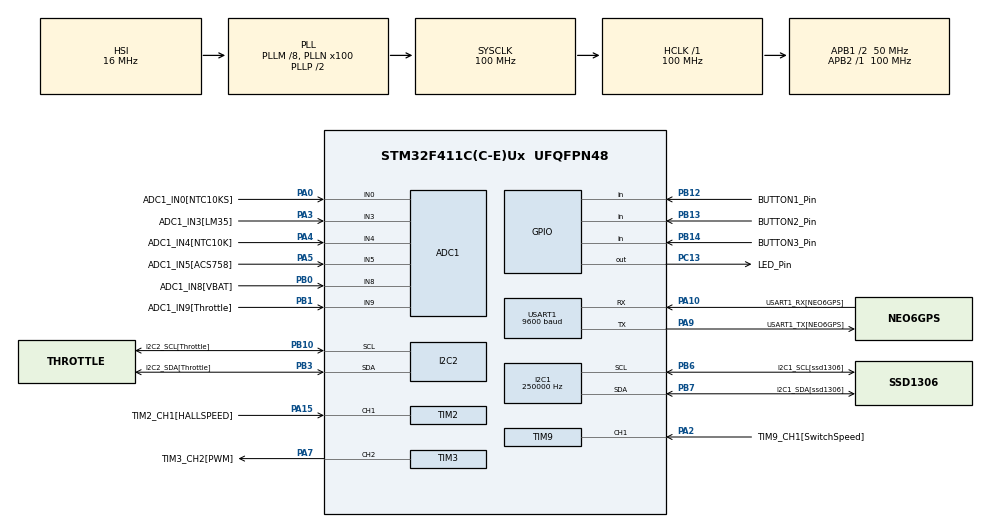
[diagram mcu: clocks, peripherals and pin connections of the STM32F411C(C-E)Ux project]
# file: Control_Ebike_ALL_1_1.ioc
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ADC1.Channel-0\#ChannelRegularConversion=ADC_CHANNEL_3
ADC1.Channel-1\#ChannelRegularConversion=ADC_CHANNEL_5
ADC1.Channel-2\#ChannelRegularConversion=ADC_CHANNEL_8
ADC1.Channel-3\#ChannelRegularConversion=ADC_CHANNEL_9
ADC1.Channel-4\#ChannelRegularConversion=ADC_CHANNEL_4
ADC1.Channel-5\#ChannelRegularConversion=ADC_CHANNEL_0
ADC1.ContinuousConvMode=ENABLE
ADC1.InjNumberOfConversion=0
ADC1.NbrOfConversion=6
ADC1.NbrOfConversionFlag=1
ADC1.Rank-0\#ChannelRegularConversion=1
ADC1.Rank-1\#ChannelRegularConversion=2
ADC1.Rank-2\#ChannelRegularConversion=3
ADC1.Rank-3\#ChannelRegularConversion=4
ADC1.Rank-4\#ChannelRegularConversion=5
ADC1.Rank-5\#ChannelRegularConversion=6
ADC1.SamplingTime-0\#ChannelRegularConversion=ADC_SAMPLETIME_84CYCLES
ADC1.SamplingTime-1\#ChannelRegularConversion=ADC_SAMPLETIME_84CYCLES
ADC1.SamplingTime-2\#ChannelRegularConversion=ADC_SAMPLETIME_84CYCLES
ADC1.SamplingTime-3\#ChannelRegularConversion=ADC_SAMPLETIME_84CYCLES
ADC1.SamplingTime-4\#ChannelRegularConversion=ADC_SAMPLETIME_84CYCLES
ADC1.SamplingTime-5\#ChannelRegularConversion=ADC_SAMPLETIME_3CYCLES
ADC1.ScanConvMode=ENABLE
ADC1.master=1
I2C1.ClockSpeed=250000
I2C1.I2C_Mode=I2C_Fast
Mcu.Family=STM32F4
Mcu.Name=STM32F411C(C-E)Ux
Mcu.Package=UFQFPN48
NVIC.PriorityGroup=NVIC_PRIORITYGROUP_4
NVIC.TIM1_BRK_TIM9_IRQn=true\:0\:0\:false\:true\:true\:1\:true\:true\:true
NVIC.TIM1_CC_IRQn=true\:0\:0\:false\:false\:true\:true\:true\:true
NVIC.TIM1_TRG_COM_TIM11_IRQn=true\:0\:0\:false\:false\:true\:true\:true\:true
NVIC.TIM1_UP_TIM10_IRQn=true\:0\:0\:false\:false\:true\:true\:true\:true
NVIC.TIM2_IRQn=true\:0\:0\:false\:true\:true\:2\:true\:true\:true
NVIC.TIM4_IRQn=true\:0\:0\:false\:false\:true\:true\:true\:true
NVIC.USART1_IRQn=true\:0\:0\:false\:false\:true\:true\:true\:true
PA0-WKUP.GPIO_Label=ADC1_IN0[NTC10KS]
PA0-WKUP.Signal=ADCx_IN0
PA10.GPIO_Label=USART1_RX[NEO6GPS]
PA10.Mode=Asynchronous
PA10.Signal=USART1_RX
PA13.Mode=Serial_Wire
PA13.Signal=SYS_JTMS-SWDIO
PA14.Mode=Serial_Wire
PA14.Signal=SYS_JTCK-SWCLK
PA15.GPIO_Label=TIM2_CH1[HALLSPEED]
PA15.GPIO_PuPd=GPIO_PULLDOWN
PA15.GPIO_Speed=GPIO_SPEED_FREQ_VERY_HIGH
PA15.Signal=S_TIM2_CH1_ETR
PA2.GPIO_Label=TIM9_CH1[SwitchSpeed]
PA2.Signal=S_TIM9_CH1
PA3.GPIO_Label=ADC1_IN3[LM35]
PA3.Signal=ADCx_IN3
PA4.GPIO_Label=ADC1_IN4[NTC10K]
PA4.Signal=ADCx_IN4
PA5.GPIO_Label=ADC1_IN5[ACS758]
PA5.Signal=ADCx_IN5
PA7.GPIO_Label=TIM3_CH2[PWM]
PA7.Signal=S_TIM3_CH2
PA9.GPIO_Label=USART1_TX[NEO6GPS]
PA9.Mode=Asynchronous
PA9.Signal=USART1_TX
PB0.GPIO_Label=ADC1_IN8[VBAT]
PB0.Signal=ADCx_IN8
PB1.GPIO_Label=ADC1_IN9[Throttle]
PB1.Signal=ADCx_IN9
PB10.GPIO_Label=I2C2_SCL[Throttle]
PB10.Mode=I2C
PB10.Signal=I2C2_SCL
PB12.GPIO_Label=BUTTON1_Pin
PB12.Signal=GPIO_Input
PB13.GPIO_Label=BUTTON2_Pin
PB13.Signal=GPIO_Input
PB14.GPIO_Label=BUTTON3_Pin
PB14.Signal=GPIO_Input
PB3.GPIO_Label=I2C2_SDA[Throttle]
PB3.Mode=I2C
PB3.Signal=I2C2_SDA
PB6.GPIO_Label=I2C1_SCL[ssd1306]
PB6.Mode=I2C
PB6.Signal=I2C1_SCL
PB7.GPIO_Label=I2C1_SDA[ssd1306]
PB7.Mode=I2C
PB7.Signal=I2C1_SDA
PC13-ANTI_TAMP.GPIO_Label=LED_Pin
PC13-ANTI_TAMP.Signal=GPIO_Output
PH0\ -\ OSC_IN.Mode=HSE-External-Oscillator
PH0\ -\ OSC_IN.Signal=RCC_OSC_IN
PH1\ -\ OSC_OUT.Mode=HSE-External-Oscillator
PH1\ -\ OSC_OUT.Signal=RCC_OSC_OUT
ProjectManager.HeapSize=0x200
ProjectManager.StackSize=0x400
ProjectManager.TargetToolchain=STM32CubeIDE
RCC.48MHZClocksFreq_Value=50000000
RCC.AHBFreq_Value=100000000
RCC.APB1CLKDivider=RCC_HCLK_DIV2
RCC.APB1Freq_Value=50000000
RCC.APB1TimFreq_Value=100000000
RCC.APB2Freq_Value=100000000
RCC.APB2TimFreq_Value=100000000
RCC.CortexFreq_Value=100000000
RCC.HCLKFreq_Value=100000000
RCC.HSE_VALUE=25000000
RCC.HSI_VALUE=16000000
RCC.LSE_VALUE=32768
RCC.PLLM=8
RCC.PLLN=100
RCC.SYSCLKFreq_VALUE=100000000
RCC.SYSCLKSource=RCC_SYSCLKSOURCE_PLLCLK
RCC.VCOOutputFreq_Value=200000000
SH.ADCx_IN0.0=ADC1_IN0,IN0
SH.ADCx_IN3.0=ADC1_IN3,IN3
SH.ADCx_IN4.0=ADC1_IN4,IN4
SH.ADCx_IN5.0=ADC1_IN5,IN5
SH.ADCx_IN8.0=ADC1_IN8,IN8
SH.ADCx_IN9.0=ADC1_IN9,IN9
SH.S_TIM2_CH1_ETR.0=TIM2_CH1,Input_Capture1_from_TI1
SH.S_TIM3_CH2.0=TIM3_CH2,PWM Generation2 CH2
SH.S_TIM9_CH1.0=TIM9_CH1,Input_Capture1_from_TI1
TIM1.Prescaler=100-1
TIM2.Channel-Input_Capture1_from_TI1=TIM_CHANNEL_1
TIM2.Channel-Input_Capture2_from_TI1_63=TIM_CHANNEL_2
TIM2.ICPolarity_CH2=TIM_INPUTCHANNELPOLARITY_FALLING
TIM2.Period=69355
TIM3.Channel-PWM\ Generation2\ CH2=TIM_CHANNEL_2
TIM3.Period=100-1
TIM3.Prescaler=10-1
TIM3.Pulse-PWM\ Generation2\ CH2=0
TIM4.Period=1000-1
TIM4.Prescaler=10000-1
TIM9.Channel-Input_Capture1_from_TI1=TIM_CHANNEL_1
TIM9.ICPolarity_CH1=TIM_INPUTCHANNELPOLARITY_FALLING
TIM9.Period=9999
TIM9.Prescaler=9999
USART1.BaudRate=9600
USART1.VirtualMode=VM_ASYNC
VP_IWDG_VS_IWDG.Mode=IWDG_Activate
VP_TIM1_VS_ClockSourceINT.Mode=Internal
VP_TIM2_VS_ClockSourceINT.Mode=Internal
VP_TIM2_VS_indirect_ch1.Mode=Input_Capture2_from_TI1_63
VP_TIM3_VS_ClockSourceINT.Mode=Internal
VP_TIM4_VS_ClockSourceINT.Mode=Internal
VP_TIM9_VS_ClockSourceINT.Mode=Internal
board=custom

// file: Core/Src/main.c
/* USER CODE BEGIN Header */
/**
  ******************************************************************************
  * @file           : main.c
  * @brief          : Main program body
  ******************************************************************************
  * @attention
  *
  * Copyright (c) 2024 STMicroelectronics.
  * All rights reserved.
  *
  * This software is licensed under terms that can be found in the LICENSE file
  * in the root directory of this software component.
  * If no LICENSE file comes with this software, it is provided AS-IS.
  *
  ******************************************************************************
  */
/* USER CODE END Header */
#include "main.h"
#include "adc.h"
#include "i2c.h"
#include "iwdg.h"
#include "tim.h"
#include "usart.h"
#include "gpio.h"

/* USER CODE BEGIN Includes */
#include "acs758.h"
#include "Battery.h"
#include "buttons.h"
//#include "ds18B20.h"
#include "ssd1306_conf.h"
#include "ssd1306_tests.h"
#include "ssd1306_fonts.h"
#include "ssd1306.h"
#include "gps_neo6.h"
#include "hall.h"
//#include "MCP4725.h"
//#include "onewire.h"

#include "ThrottleADC.h"
#include "page.h"
//#include "lm35.h"
#include "ntc10k.h"
#include "ntc10kS.h"
#include "SwitchSpeed.h"
//#include "pidspeed.h"
#include "pid.h"

#include "stdint.h"
#include "stdio.h"
#include <math.h>
#include <string.h>
/* USER CODE END Includes */

/* USER CODE BEGIN PV */

///// NTC10K ////
uint16_t ADC_Raw;
float Ntc_Tmp;
float Avg_Tmp;

uint8_t Sch_100ms = 255;

///// NTC10K S ////
uint16_t ADC_Raw_S;
float Ntc_Tmp_S;
float Avg_Tmp_S;

uint8_t Sch_100ms_S = 255;

///// LM35 /////
//float temp;
//uint32_t adcval;

//// POWER  /////
float power;

double batteryCurrentCapacityAh;
double batteryCurrentCapacityWh;

/// ACS758 /////
double current;
float voltage;
uint32_t value;

//// Throttle /////
//MCP4725 myDAC;
//double averageVoltage;
//double adc_val;

//// V_BAT /////
uint32_t bat_adc_val;
float batteryVoltage;

/// NEO6GPS  /////
NEO6_State GpsState;

/// BUTTON ////
BUTTON_T BUTTON1_Pin;
BUTTON_T BUTTON2_Pin;
BUTTON_T BUTTON3_Pin;

/// DS18B20/////
//float temperature;

/// SwitchSpeed //////
extern volatile uint32_t lastPulseCheckTime_Switch;
extern volatile float Switchspeed;
extern volatile float Switchrotational_speed;
extern volatile uint32_t lastImpulseTime_Switch;

////HALL_SPEED /////
extern volatile float speed;
extern volatile float rotational_speed;
extern volatile uint32_t pulseCounter;
extern volatile uint32_t lastImpulseTime;
extern volatile uint32_t lastPulseCheckTime;
extern volatile float totalDistance;

//// SSD1306 PAGE ////
uint8_t pageIndex = 0; // This variable will keep track of which page should be displayed.
uint8_t supportLevel = 2; // Start at level 1

//// NEO6GPS /////
NEO6_State GpsState;

///// PWM_PID /////
double scaledThrottlePower;
double powerPercentage;
double averageVoltagePercentage;
double throttlePower;

double scaledThrottleSpeed;
double speedPercentage;
double throttleSpeed;

uint8_t currentFunction = 0;
/* USER CODE END PV */

void SystemClock_Config(void);
static void MX_NVIC_Init(void);
/* USER CODE BEGIN PFP */
void renderPage1(char* buffer);
void renderPage2(char* buffer);
void renderPage3(char* buffer);
void renderPage4(char* buffer);
void renderPage5(char* buffer);
void renderPage6(char* buffer);
/* USER CODE END PFP */

int main(void)
{
  /* USER CODE BEGIN 1 */
//	PID_TypeDef PID;
  /* USER CODE END 1 */

  /* MCU Configuration--------------------------------------------------------*/

  /* Reset of all peripherals, Initializes the Flash interface and the Systick. */
  HAL_Init();

  /* USER CODE BEGIN Init */
//  PID_Init(&PID);
  /* USER CODE END Init */

  /* Configure the system clock */
  SystemClock_Config();

  /* Initialize all configured peripherals */
  MX_GPIO_Init();
  MX_ADC1_Init();
  MX_I2C1_Init();
  MX_I2C2_Init();
  MX_TIM1_Init();
  MX_USART1_UART_Init();
  MX_TIM2_Init();
  MX_TIM3_Init();
  MX_TIM4_Init();
  MX_TIM9_Init();
  MX_IWDG_Init();

  /* Initialize interrupts */
  MX_NVIC_Init();
  /* USER CODE BEGIN 2 */

///////////////////////////////// NTC10K
  HAL_TIM_Base_Start_IT(&htim4);

///////////////////////////////// NTC10KS
  HAL_TIM_Base_Start_IT(&htim4);

///////////////////////////////NEO6GPS
  NEO6_Init(&GpsState, &huart1);

////////////////////////////// ACS758 /////
  ACS7XX Serch;
  ACS7XX_ResetCounters(&Serch);
  ACS7XX_Calibrate(&Serch);
  ACS7XX_Init_Default(&Serch);

///////////////////////////// HALLSPEED /////
  HAL_TIM_IC_START();

///////////////////////////// SSD1306 /////
  ssd1306_Init();

/////////////////////////////// BUTTON ////
  Button_Init(&BUTTON1_Pin, BUTTON1_Pin_GPIO_Port, BUTTON1_Pin_Pin, 30, 3000, 700);
  Button_Init(&BUTTON2_Pin, BUTTON2_Pin_GPIO_Port, BUTTON2_Pin_Pin, 30, 3000, 700);
  Button_Init(&BUTTON3_Pin, BUTTON3_Pin_GPIO_Port, BUTTON3_Pin_Pin, 30, 3000, 700);

  PID_Init_Power(&Serch, &hadc1, &powerPercentage, &averageVoltagePercentage);

/////////////////////////////// DELAY ////
  uint32_t GPS_delay = 0;
  uint32_t mAhWh_delay = 0;
//  uint32_t PWM_delay = 0;
  uint32_t NTC10K_delay = 0;
  uint32_t NTC10KS_delay = 0;
  uint32_t POWER_delay = 0;
  uint32_t ACS758_delay = 0;
  uint32_t V_BAT_delay = 0;
  uint32_t SSD1306_delay = 0;
  uint32_t BUTTON_delay = 0;

//  uint32_t LM35_delay = 0;
//  uint32_t DS18B20_delay = 0;

  /* USER CODE END 2 */

  /* Infinite loop */
  /* USER CODE BEGIN WHILE */
  while (1)
  {

	  if(HAL_IWDG_Refresh(&hiwdg) != HAL_OK)
	  {
		  /* Refresh Error */
		  Error_Handler();
	  }

//////////////////////////////////////////////NEO6GPS ////////
	if((HAL_GetTick() - GPS_delay) > 100)
		{
	  		NEO6_Task(&GpsState);
	  		NEO6_IsFix(&GpsState);
	  		GPS_delay = HAL_GetTick();
		}
////////////////////////////////////////////// mAh / Wh ///////

	if((HAL_GetTick() - mAhWh_delay) > 1000)
	  		{
	  UpdateBatteryConsumption(&Serch, &hadc1, &batteryCurrentCapacityAh, &batteryCurrentCapacityWh);
	  mAhWh_delay = HAL_GetTick();
	}
///////////////////////////////////////////// PWM THROTTLE////////////
//	if((HAL_GetTick() - PWM_delay) > 500)
//	{
		Throttle_Control_Power(&Serch, &hadc1, &htim3, TIM_CHANNEL_2, &averageVoltagePercentage, &powerPercentage);
//		PWM_delay = HAL_GetTick();
//	}
//////////////////////////////////////////////NTC10K /////////
	if((HAL_GetTick() - NTC10K_delay) > 1000)
	{
	  if(Sch_100ms)
	    {
		  NTC10K_ADC_Read(&ADC_Raw);
		  NTC10K_Get_Avg_Temp(&Avg_Tmp);

	    }
	  NTC10K_delay = HAL_GetTick();
	}

	//////////////////////////////////////////////NTC10KS /////////
	if((HAL_GetTick() - NTC10KS_delay) > 1000)
	{
		if(Sch_100ms_S)
		  {
		 	NTC10K_ADC_Read_S(&ADC_Raw_S);
		 	NTC10K_Get_Avg_Temp_S(&Avg_Tmp_S);

		  }
		NTC10KS_delay = HAL_GetTick();
	}

/////////////////////////////////////////////HALLSPEED /////
// If the last pulse was more than TIMEOUT milliseconds ago
	if (HAL_GetTick() - lastImpulseTime >= TIMEOUT)
	{
		// reset speed, rotational_speed and pulseCounter
		pulseCounter = 0;
		speed = 0;
		rotational_speed = 0;
	}

//////////////////////////////////////////// POWER //////
	if((HAL_GetTick() - POWER_delay) > 500)
	{
		Power_Calculate(&Serch, &hadc1, &power);

		POWER_delay = HAL_GetTick();
	}

//////////////////////////////////////////// ACS758 /////
	if((HAL_GetTick() - ACS758_delay) > 500)
	{
	   ACS7XX_InstantCurrent(&Serch, &current, &voltage, &value);

	   ACS758_delay = HAL_GetTick();
	}

///////////////////////////////////////////// V_BAT ///////
	if((HAL_GetTick() - V_BAT_delay) > 1000)
	{
	   HAL_ADC_Start(&hadc1);
	   HAL_ADC_PollForConversion(&hadc1, HAL_MAX_DELAY);
	   Battery_Get_ADC_Value(&hadc1, &bat_adc_val);
	   Battery_Get_Voltage(&hadc1 , &batteryVoltage);
	   HAL_ADC_Stop(&hadc1);

	   V_BAT_delay = HAL_GetTick();
	}

//////////////////////////////////////////// SSD1306  ////

	if((HAL_GetTick() - SSD1306_delay) > 100)
	{
		char displayBuffer[50];
		ssd1306_Fill(Black);

		// Depending on the page to be displayed we render different information.
		switch (pageIndex)
		{
			case 0: // Page 1
		      renderPage2(displayBuffer);
		      break;

			case 1: // Page 2
		      renderPage2(displayBuffer);
		      break;

			case 2: // Page 3
		      renderPage3(displayBuffer);
		      break;

			case 3: // Page 4
		      renderPage4(displayBuffer);
		      break;

			case 4: // Page 5
		      renderPage5(displayBuffer);
		      break;

			case 5: // Page 6
		      renderPage5(displayBuffer);
		      break;

			default:
				// If an unrecognized page index is detected, reset to page 1.
				pageIndex = 0;
			}
		ssd1306_UpdateScreen();

		SSD1306_delay = HAL_GetTick();
	}

////////////////////////////////////////////// BUTTON ////
	if((HAL_GetTick() - BUTTON_delay) > 100)
	{

		/////// If button 3 is pressed, we move to the next page.
		if (Button_IsPressed(&BUTTON1_Pin))
		{
			// If we were in the last page, reset to page 1.
		    if (pageIndex >= 5)
		    {
		    	pageIndex = 0;
		    }
		    // Otherwise, simply go to the next page.
		    else
		    {
		    	pageIndex++;
		    }
		}

		/////// If button 2 is pressed, increment the support level.
		if (Button_IsPressed(&BUTTON2_Pin))
		{
			if (supportLevel <= 4)
		    {
		        supportLevel++;
		    }
		}

		/////// If button 3 is pressed, decrement the support level.
		if (Button_IsPressed(&BUTTON3_Pin))
		{
			if (supportLevel >= 1)
		    {
				supportLevel--;
		    }
		}
		   BUTTON_delay = HAL_GetTick();
	}

    /* USER CODE END WHILE */

  }
}

void SystemClock_Config(void)
{
  RCC_OscInitTypeDef RCC_OscInitStruct = {0};
  RCC_ClkInitTypeDef RCC_ClkInitStruct = {0};

  /** Configure the main internal regulator output voltage
  */
  __HAL_RCC_PWR_CLK_ENABLE();
  __HAL_PWR_VOLTAGESCALING_CONFIG(PWR_REGULATOR_VOLTAGE_SCALE1);

  /** Initializes the RCC Oscillators according to the specified parameters
  * in the RCC_OscInitTypeDef structure.
  */
  RCC_OscInitStruct.OscillatorType = RCC_OSCILLATORTYPE_HSI|RCC_OSCILLATORTYPE_LSI;
  RCC_OscInitStruct.HSIState = RCC_HSI_ON;
  RCC_OscInitStruct.HSICalibrationValue = RCC_HSICALIBRATION_DEFAULT;
  RCC_OscInitStruct.LSIState = RCC_LSI_ON;
  RCC_OscInitStruct.PLL.PLLState = RCC_PLL_ON;
  RCC_OscInitStruct.PLL.PLLSource = RCC_PLLSOURCE_HSI;
  RCC_OscInitStruct.PLL.PLLM = 8;
  RCC_OscInitStruct.PLL.PLLN = 100;
  RCC_OscInitStruct.PLL.PLLP = RCC_PLLP_DIV2;
  RCC_OscInitStruct.PLL.PLLQ = 4;
  if (HAL_RCC_OscConfig(&RCC_OscInitStruct) != HAL_OK)
  {
    Error_Handler();
  }

  /** Initializes the CPU, AHB and APB buses clocks
  */
  RCC_ClkInitStruct.ClockType = RCC_CLOCKTYPE_HCLK|RCC_CLOCKTYPE_SYSCLK
                              |RCC_CLOCKTYPE_PCLK1|RCC_CLOCKTYPE_PCLK2;
  RCC_ClkInitStruct.SYSCLKSource = RCC_SYSCLKSOURCE_PLLCLK;
  RCC_ClkInitStruct.AHBCLKDivider = RCC_SYSCLK_DIV1;
  RCC_ClkInitStruct.APB1CLKDivider = RCC_HCLK_DIV2;
  RCC_ClkInitStruct.APB2CLKDivider = RCC_HCLK_DIV1;

  if (HAL_RCC_ClockConfig(&RCC_ClkInitStruct, FLASH_LATENCY_3) != HAL_OK)
  {
    Error_Handler();
  }
}

/**
  * @brief NVIC Configuration.
  * @retval None
  */
static void MX_NVIC_Init(void)
{
  /* TIM1_BRK_TIM9_IRQn interrupt configuration */
  HAL_NVIC_SetPriority(TIM1_BRK_TIM9_IRQn, 0, 0);
  HAL_NVIC_EnableIRQ(TIM1_BRK_TIM9_IRQn);
  /* TIM2_IRQn interrupt configuration */
  HAL_NVIC_SetPriority(TIM2_IRQn, 0, 0);
  HAL_NVIC_EnableIRQ(TIM2_IRQn);
}

/* USER CODE BEGIN 4 */

void HAL_TIM_IC_CaptureCallback(TIM_HandleTypeDef *htim) // Standardowy callback dla przerwania
{
    if (htim->Instance == TIM2) // Jeśli przerwanie jest od timera TIM3
    {
        HAL_TIM_IC_CaptureCallback_TIM2(htim); // Wywołaj funkcję specyficzną dla TIM3
    }
    else if (htim->Instance == TIM9) // Jeśli przerwanie jest od timera TIM9
    {
        HAL_TIM_IC_CaptureCallback_TIM9(htim);  // Wywołaj funkcję specyficzną dla TIM9
    }
}

/////////////////////////////////////// SSD1306PAGE ///////
void renderPage1(char* buffer)
{

	ssd1306_TestDrawBitmap();

}
void renderPage2(char* buffer)
{
	char displayBuffer[50];

    // Display temperature NTC10K
    ssd1306_SetCursor(65, 2);
    sprintf(displayBuffer, "E:%.1f C", Avg_Tmp);
    ssd1306_WriteString(displayBuffer, Font_7x10, White);

    // Display temperature NTC10K
    ssd1306_SetCursor(65, 13);
    sprintf(displayBuffer, "C:%.1f C", Avg_Tmp_S);
    ssd1306_WriteString(displayBuffer, Font_7x10, White);

    // Display battery voltage
    ssd1306_SetCursor(10, 2);
    sprintf(displayBuffer, ": %.1f V", batteryVoltage);
    ssd1306_WriteString(displayBuffer, Font_6x8, White);

	// Display Speed
	ssd1306_SetCursor(15, 19);
	sprintf(displayBuffer, "%.0f", speed);
	ssd1306_WriteString(displayBuffer, Font_11x18, White);
	ssd1306_SetCursor(40, 25);
	sprintf(displayBuffer, "km/h");
	ssd1306_WriteString(displayBuffer, Font_7x10, White);
    // Display POWER
    ssd1306_SetCursor(15, 45);
    sprintf(displayBuffer, "%.0f", power);
    ssd1306_WriteString(displayBuffer, Font_11x18, White);
    ssd1306_SetCursor(52, 51);
    sprintf(displayBuffer, "W");
    ssd1306_WriteString(displayBuffer, Font_7x10, White);

    // Display Current
    ssd1306_SetCursor(80, 26);
    sprintf(displayBuffer, "%.1f A", current);
    ssd1306_WriteString(displayBuffer, Font_7x10, White);

    // Display distance
    ssd1306_SetCursor(79, 53);
    sprintf(displayBuffer, "%.1f km", totalDistance);
    ssd1306_WriteString(displayBuffer, Font_6x8, White);

    //Display support level
    ssd1306_SetCursor(1, 29);
    snprintf(displayBuffer, sizeof(displayBuffer), "%u", supportLevel);
    ssd1306_WriteString(displayBuffer, Font_11x18, White);

    // Calculate the height of the temperature bar
    int tempPercent = Avg_Tmp; // This assumes temperature is between 0-100. If not, make sure to scale it.
     // Check if temperature is in range.
     if(tempPercent < 0)
     {
       tempPercent = 0;
     }
     else if(tempPercent > 100)
     {
       tempPercent = 100;
     }
     // Calculate height for temperature.
     int tempHeight = (int) (52*tempPercent/100); // Assuming the height of OLED is 64 pixels. Adjust this value according to your OLED resolution.
     // Draw temperature bar.
     for(int y=63; y>=0; y--)
     {
       for(int x=124; x<128; x++)
       { // Assuming the width of OLED is 128 pixels.
         if(y >= (64-tempHeight))
         {
           ssd1306_DrawPixel(x, y, White); // Draw the bar as white.
         }
         else
         {
           ssd1306_DrawPixel(x, y, Black); // Other area remains black.
         }
       }
     }

 	// Calculate battery level percentage.
     float batPercent = ((batteryVoltage - 42) / (54.6 - 42)) * 100 ;    // Assuming batteryVoltage ranges from 42V to 54.6V.
 	// Check if battery level is in range.
 	if(batPercent < 0)
 	{
 		batPercent = 0;
 	}
 	else if(batPercent > 100)
 	{
 	    batPercent = 100;
 	}

     uint8_t batteryWidth = 15;
     uint8_t batteryHeight = 7;
     uint8_t topLeftX = 2; // top right corner (leave 2 pixel space from the edge)
     uint8_t topLeftY = 2; // top right corner (leave 2 pixel space from the edge)
     // draw battery body
     ssd1306_DrawRectangle(topLeftX, topLeftY, topLeftX + batteryWidth, topLeftY + batteryHeight, White);
     // draw battery terminal
     ssd1306_Line(topLeftX + batteryWidth + 1, topLeftY + 1, topLeftX + batteryWidth + 1, topLeftY + batteryHeight - 1, White);
     // you can adjust the width of the filled rectangle reflects battery level
     // pseudocode: int batteryLevelWidth = batteryWidth * (currentBatteryLevel / maxBatteryLevel);
     int batteryLevelWidth =  (batPercent * batteryWidth) / 100; // let's say it's 70% now
     ssd1306_FillRectangle(topLeftX + 1, topLeftY + 1, topLeftX + 1 + batteryLevelWidth, topLeftY + batteryHeight - 1, White);
}

void renderPage3(char* buffer)
{
	char displayBuffer[50];

    // Display temperature NTC10K
    ssd1306_SetCursor(65, 2);
    sprintf(displayBuffer, "E:%.1f C", Avg_Tmp);
    ssd1306_WriteString(displayBuffer, Font_7x10, White);

    // Display temperature NTC10K
    ssd1306_SetCursor(65, 13);
    sprintf(displayBuffer, "C:%.1f C", Avg_Tmp_S);
    ssd1306_WriteString(displayBuffer, Font_7x10, White);

    // Display battery voltage
    ssd1306_SetCursor(10, 2);
    sprintf(displayBuffer, ": %.1f V", batteryVoltage);
    ssd1306_WriteString(displayBuffer, Font_6x8, White);

	// Display Speed
	ssd1306_SetCursor(15, 19);
	sprintf(displayBuffer, "%.0f", GpsState.SpeedKilometers);
	ssd1306_WriteString(displayBuffer, Font_11x18, White);
	ssd1306_SetCursor(40, 25);
	sprintf(displayBuffer, "km/h");
	ssd1306_WriteString(displayBuffer, Font_7x10, White);
    // Display POWER
    ssd1306_SetCursor(15, 45);
    sprintf(displayBuffer, "%.0f", power);
    ssd1306_WriteString(displayBuffer, Font_11x18, White);
    ssd1306_SetCursor(52, 51);
    sprintf(displayBuffer, "W");
    ssd1306_WriteString(displayBuffer, Font_7x10, White);

    // Display Current
    ssd1306_SetCursor(80, 26);
    sprintf(displayBuffer, "%.1f A", current);
    ssd1306_WriteString(displayBuffer, Font_7x10, White);

    // Display distance
    ssd1306_SetCursor(79, 53);
    sprintf(displayBuffer, "%.1f km", GpsState.total_distance);
    ssd1306_WriteString(displayBuffer, Font_6x8, White);

    ssd1306_SetCursor(83, 38);
    sprintf(displayBuffer, "GPS");
    ssd1306_WriteString(displayBuffer, Font_6x8, White);

    //Display support level
    ssd1306_SetCursor(1, 29);
    snprintf(displayBuffer, sizeof(displayBuffer), "%u", supportLevel);
    ssd1306_WriteString(displayBuffer, Font_11x18, White);

    // Calculate the height of the temperature bar
    int tempPercent = Avg_Tmp; // This assumes temperature is between 0-100. If not, make sure to scale it.
     // Check if temperature is in range.
     if(tempPercent < 0)
     {
       tempPercent = 0;
     }
     else if(tempPercent > 100)
     {
       tempPercent = 100;
     }
     // Calculate height for temperature.
     int tempHeight = (int) (52*tempPercent/100); // Assuming the height of OLED is 64 pixels. Adjust this value according to your OLED resolution.
     // Draw temperature bar.
     for(int y=63; y>=0; y--)
     {
       for(int x=124; x<128; x++)
       { // Assuming the width of OLED is 128 pixels.
         if(y >= (64-tempHeight))
         {
           ssd1306_DrawPixel(x, y, White); // Draw the bar as white.
         }
         else
         {
           ssd1306_DrawPixel(x, y, Black); // Other area remains black.
         }
       }
     }

 	// Calculate battery level percentage.
     float batPercent = ((batteryVoltage - 42) / (54.6 - 42)) * 100 ;    // Assuming batteryVoltage ranges from 42V to 54.6V.
 	// Check if battery level is in range.
 	if(batPercent < 0)
 	{
 		batPercent = 0;
 	}
 	else if(batPercent > 100)
 	{
 	    batPercent = 100;
 	}

     uint8_t batteryWidth = 15;
     uint8_t batteryHeight = 7;
     uint8_t topLeftX = 2; // top right corner (leave 2 pixel space from the edge)
     uint8_t topLeftY = 2; // top right corner (leave 2 pixel space from the edge)
     // draw battery body
     ssd1306_DrawRectangle(topLeftX, topLeftY, topLeftX + batteryWidth, topLeftY + batteryHeight, White);
     // draw battery terminal
     ssd1306_Line(topLeftX + batteryWidth + 1, topLeftY + 1, topLeftX + batteryWidth + 1, topLeftY + batteryHeight - 1, White);
     // you can adjust the width of the filled rectangle reflects battery level
     // pseudocode: int batteryLevelWidth = batteryWidth * (currentBatteryLevel / maxBatteryLevel);
     int batteryLevelWidth =  (batPercent * batteryWidth) / 100; // let's say it's 70% now
     ssd1306_FillRectangle(topLeftX + 1, topLeftY + 1, topLeftX + 1 + batteryLevelWidth, topLeftY + batteryHeight - 1, White);
}

void renderPage4(char* buffer)
	{
		char displayBuffer[50];

	    // Display temperature NTC10K
	    ssd1306_SetCursor(65, 2);
	    sprintf(displayBuffer, "E:%.1f C", Avg_Tmp);
	    ssd1306_WriteString(displayBuffer, Font_7x10, White);

	    // Display temperature NTC10K
	    ssd1306_SetCursor(65, 13);
	    sprintf(displayBuffer, "C:%.1f C", Avg_Tmp_S);
	    ssd1306_WriteString(displayBuffer, Font_7x10, White);

	    // Display battery voltage
	    ssd1306_SetCursor(10, 2);
	    sprintf(displayBuffer, ": %.1f V", batteryVoltage);
	    ssd1306_WriteString(displayBuffer, Font_6x8, White);

		// Display mAh
		ssd1306_SetCursor(15, 25);
		sprintf(displayBuffer, "%.1f", batteryCurrentCapacityAh);
		ssd1306_WriteString(displayBuffer, Font_7x10, White);
		ssd1306_SetCursor(50, 25);
		sprintf(displayBuffer, "mAh");
		ssd1306_WriteString(displayBuffer, Font_7x10, White);
	    // Display Wh
	    ssd1306_SetCursor(15, 51);
	    sprintf(displayBuffer, "%.1f", batteryCurrentCapacityWh);
	    ssd1306_WriteString(displayBuffer, Font_7x10, White);
	    ssd1306_SetCursor(50, 51);
	    sprintf(displayBuffer, "Wh");
	    ssd1306_WriteString(displayBuffer, Font_7x10, White);

	    // Display Current
	    ssd1306_SetCursor(80, 26);
	    sprintf(displayBuffer, "%.1f A", current);
	    ssd1306_WriteString(displayBuffer, Font_7x10, White);

//	    // Display distance
//	    ssd1306_SetCursor(79, 53);
//	    sprintf(displayBuffer, "%.1f km", GpsState.total_distance);
//	    ssd1306_WriteString(displayBuffer, Font_6x8, White);

//	    ssd1306_SetCursor(83, 33);
//	    sprintf(displayBuffer, "GPS");
//	    ssd1306_WriteString(displayBuffer, Font_6x8, White);

	    //Display support level
	    ssd1306_SetCursor(1, 29);
	    snprintf(displayBuffer, sizeof(displayBuffer), "%u", supportLevel);
	    ssd1306_WriteString(displayBuffer, Font_11x18, White);

	    // Calculate the height of the temperature bar
	    int tempPercent = Avg_Tmp; // This assumes temperature is between 0-100. If not, make sure to scale it.
	     // Check if temperature is in range.
	     if(tempPercent < 0)
	     {
	       tempPercent = 0;
	     }
	     else if(tempPercent > 100)
	     {
	       tempPercent = 100;
	     }
	     // Calculate height for temperature.
	     int tempHeight = (int) (52*tempPercent/100); // Assuming the height of OLED is 64 pixels. Adjust this value according to your OLED resolution.
	     // Draw temperature bar.
	     for(int y=63; y>=0; y--)
	     {
	       for(int x=124; x<128; x++)
	       { // Assuming the width of OLED is 128 pixels.
	         if(y >= (64-tempHeight))
	         {
	           ssd1306_DrawPixel(x, y, White); // Draw the bar as white.
	         }
	         else
	         {
	           ssd1306_DrawPixel(x, y, Black); // Other area remains black.
	         }
	       }
	     }

	 	// Calculate battery level percentage.
	    float batPercent = ((batteryVoltage - 42) / (54.6 - 42)) * 100 ;    // Assuming batteryVoltage ranges from 42V to 54.6V.
	 	// Check if battery level is in range.
	 	if(batPercent < 0)
	 	{
	 		batPercent = 0;
	 	}
	 	else if(batPercent > 100)
	 	{
	 	    batPercent = 100;
	 	}

	     uint8_t batteryWidth = 15;
	     uint8_t batteryHeight = 7;
	     uint8_t topLeftX = 2; // top right corner (leave 2 pixel space from the edge)
	     uint8_t topLeftY = 2; // top right corner (leave 2 pixel space from the edge)
	     // draw battery body
	     ssd1306_DrawRectangle(topLeftX, topLeftY, topLeftX + batteryWidth, topLeftY + batteryHeight, White);
	     // draw battery terminal
	     ssd1306_Line(topLeftX + batteryWidth + 1, topLeftY + 1, topLeftX + batteryWidth + 1, topLeftY + batteryHeight - 1, White);
	     // you can adjust the width of the filled rectangle reflects battery level
	     // pseudocode: int batteryLevelWidth = batteryWidth * (currentBatteryLevel / maxBatteryLevel);
	     int batteryLevelWidth =  (batPercent * batteryWidth) / 100; // let's say it's 70% now
	     ssd1306_FillRectangle(topLeftX + 1, topLeftY + 1, topLeftX + 1 + batteryLevelWidth, topLeftY + batteryHeight - 1, White);
	}
void renderPage5(char* buffer)
{
	char displayBuffer[50];

    ssd1306_SetCursor(10, 0);
    sprintf(displayBuffer, "GPS INFORMATION");
    ssd1306_WriteString(displayBuffer, Font_6x8, White);

    // Display GPS satelites number
    ssd1306_SetCursor(2, 9);
    sprintf(displayBuffer, "SatelitesNumber: %d", GpsState.SatelitesNumber);
    ssd1306_WriteString(displayBuffer, Font_6x8, White);

    // Display GPS Date
    ssd1306_SetCursor(2, 18);
    sprintf(displayBuffer, "Date: %d.%d.%d", GpsState.Day, GpsState.Month, GpsState.Year);
    ssd1306_WriteString(displayBuffer, Font_6x8, White);

    // Display GPS Time
    ssd1306_SetCursor(2, 27);
    sprintf(displayBuffer, "Time: %d:%d:%d", GpsState.Hour, GpsState.Minute, GpsState.Second);
    ssd1306_WriteString(displayBuffer, Font_6x8, White);

    // Display GPS Speed
    ssd1306_SetCursor(2, 36);
    sprintf(displayBuffer, "Speed: %.2f km/h", GpsState.SpeedKilometers);
    ssd1306_WriteString(displayBuffer, Font_6x8, White);

    // Display GPS Latitude and Longitude
    ssd1306_SetCursor(2, 45);
    sprintf(displayBuffer, "Lat: %f", GpsState.Latitude);
    ssd1306_WriteString(displayBuffer, Font_6x8, White);

    ssd1306_SetCursor(2, 54);
    sprintf(displayBuffer, "Long: %f",GpsState.Longitude);
    ssd1306_WriteString(displayBuffer, Font_6x8, White);
//
//    // Display GPS Latitude and Longitude
//    ssd1306_SetCursor(2, 45);
//    sprintf(displayBuffer, "Lat: **.******");
//    ssd1306_WriteString(displayBuffer, Font_6x8, White);
//
//    ssd1306_SetCursor(2, 54);
//    sprintf(displayBuffer, "Long: **.****** ");
//    ssd1306_WriteString(displayBuffer, Font_6x8, White);
}
void renderPage6(char* buffer)
{
	char displayBuffer[50];

    ssd1306_SetCursor(35, 2);
    sprintf(displayBuffer, "SETTINGS");
    ssd1306_WriteString(displayBuffer, Font_7x10, White);

    ssd1306_SetCursor(0, 15);
    sprintf(displayBuffer, "-Temperature_SENS ");
    ssd1306_WriteString(displayBuffer, Font_6x8, White);

    ssd1306_SetCursor(0, 30);
    sprintf(displayBuffer, "-Current_SENS_CALIB");
    ssd1306_WriteString(displayBuffer, Font_6x8, White);
}

/////////////////////////////////////////////// NEO6GPS  //////
void HAL_UART_RxCpltCallback(UART_HandleTypeDef *huart)
{
	if(huart == GpsState.neo6_huart)
	{
		NEO6_ReceiveUartChar(&GpsState);
	}
}

/* USER CODE END 4 */

void Error_Handler(void)
{
  __disable_irq();
  while (1)
  {
  }
}
